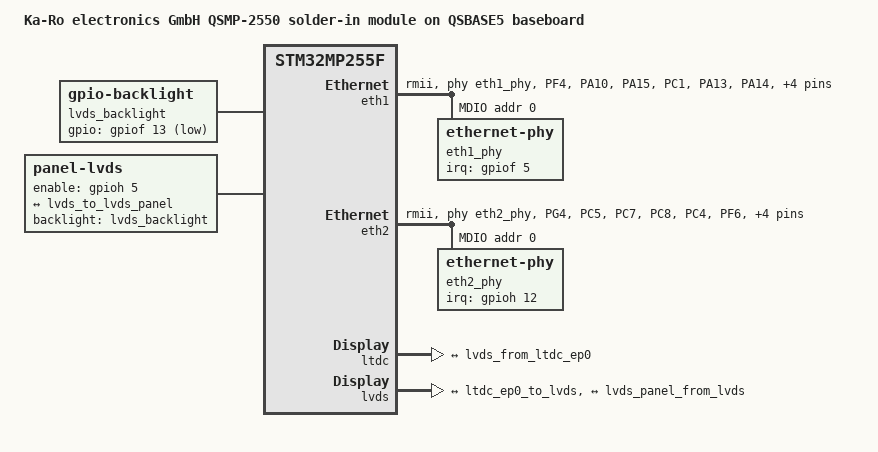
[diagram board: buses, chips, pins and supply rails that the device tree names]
// SPDX-License-Identifier: (GPL-2.0-or-later OR BSD-2-Clause)
/*
 * Copyright (C) 2024 Lothar Waßmann <LW@KARO-electronics.de>
 */

#include "stm32mp255f-qsmp-2550.dts"

/ {
	model = "Ka-Ro electronics GmbH QSMP-2550 solder-in module on QSBASE5 baseboard";

	aliases {
		display = "/lvds-panel";
	};

	lvds_backlight: lvds-backlight {
		compatible = "gpio-backlight";
		default-on;
		gpios = <&gpiof 13 GPIO_ACTIVE_LOW>;
	};

	panel: lvds-panel {
		compatible = "panel-lvds";
		backlight = <&lvds_backlight>;
		enable-gpios = <&gpioh 5 GPIO_ACTIVE_HIGH>; /* Pin 78 */
		data-mapping = "vesa24";
		status = "okay";

		panel-timing {
			clock-frequency = <54000000>;
			hactive = <1024>;
			vactive = <600>;
			hfront-porch = <150>;
			hback-porch = <150>;
			hsync-len = <21>;
			vfront-porch = <24>;
			vback-porch = <24>;
			vsync-len = <21>;
		};

		port {
			lvds_panel_from_lvds: endpoint {
				remote-endpoint = <&lvds_to_lvds_panel>;
			};
		};

		display-timings {
			TM101: TM101 {
				clock-frequency = <68200000>;
				hactive = <1280>;
				vactive = <800>;
				hback-porch = <5>;
				hsync-len = <1>;
				hfront-porch = <64>;
				vback-porch = <2>;
				vsync-len = <1>;
				vfront-porch = <40>;
				hsync-active = <0>;
				vsync-active = <0>;
				de-active = <1>;
				pixelclk-active = <0>;
			};
		};
	};
};

&eth1 {
	pinctrl-names = "default", "sleep";
	pinctrl-0 = <&eth1_mdio_pins &eth1_rmii_pins>;
	pinctrl-1 = <&eth1_mdio_sleep_pins &eth1_rmii_sleep_pins>;
	phy-mode = "rmii";
	phy-reset-gpios = <&gpiob 2 GPIO_ACTIVE_LOW>;
	phy-reset-delay-us = <10000>;
	phy-reset-post-delay-us = <100>;
	phy-handle = <&eth1_phy>;
	status = "okay";

	mdio {
		#address-cells = <1>;
		#size-cells = <0>;
		compatible = "snps,dwmac-mdio";

		eth1_phy: ethernet-phy@0 {
			reg = <0>;
			interrupt-parent = <&gpiof>;
			interrupts = <5 IRQ_TYPE_EDGE_FALLING>;
			smsc,disable-energy-detect;
		};
	};
};

&eth2 {
	pinctrl-names = "default", "sleep";
	pinctrl-0 = <&eth2_mdio_pins &eth2_rmii_pins>;
	pinctrl-1 = <&eth2_mdio_sleep_pins &eth2_rmii_sleep_pins>;
	phy-mode = "rmii";
	phy-reset-gpios = <&gpioh 13 GPIO_ACTIVE_LOW>;
	phy-reset-delay-us = <10000>;
	phy-reset-post-delay-us = <100>;
	phy-handle = <&eth2_phy>;
	status = "okay";

	mdio {
		#address-cells = <1>;
		#size-cells = <0>;

		eth2_phy: ethernet-phy@0 {
			reg = <0>;
			interrupt-parent = <&gpioh>;
			interrupts = <12 IRQ_TYPE_EDGE_FALLING>;
			smsc,disable-energy-detect;
		};
	};
};

&ltdc {
	default-on;
	status = "okay";

	port {
		#address-cells = <1>;
		#size-cells = <0>;

		ltdc_ep0_to_lvds: endpoint@0 {
			reg = <0>;
			remote-endpoint = <&lvds_from_ltdc_ep0>;
		};
	};
};

&lvds {
	vdd-supply =  <&scmi_vddcore>;
	vdda18-supply = <&scmi_v1v8>;
	default-on;
	status = "okay";

	ports {
		#address-cells = <1>;
		#size-cells = <0>;

		port@0 {
			reg = <0>;

			lvds_from_ltdc_ep0: endpoint {
				remote-endpoint = <&ltdc_ep0_to_lvds>;
			};
		};

		port@1 {
			reg = <1>;

			lvds_to_lvds_panel: endpoint {
				remote-endpoint = <&lvds_panel_from_lvds>;
			};
		};
	};
};

&pinctrl {
	eth1_mdio_pins: eth1-mdio-pins {
		pins1 {
			pinmux = <STM32_PINMUX('F', 4, AF8)>; /* ETH1_MDC */
			bias-disable;
			drive-push-pull;
			slew-rate = <2>;
		};

		pins2 {
			pinmux = <STM32_PINMUX('A', 10, AF10)>; /* ETH1_MDIO */
			bias-disable;
			drive-push-pull;
			slew-rate = <0>;
		};
	};

	eth1_mdio_sleep_pins: eth1-mdio-sleep-pins {
		pins1 {
			pinmux = <STM32_PINMUX('F', 4, ANALOG)>, /* ETH1_MDC */
				 <STM32_PINMUX('A', 10, ANALOG)>; /* ETH1_MDIO */
		};
	};

	eth1_rmii_pins: eth1-rmii-pins {
		pins1 {
			pinmux = <
				  STM32_PINMUX('A', 15, AF10) /* ETH1_RMII_TXD0 */
				  STM32_PINMUX('C', 1, AF10) /* ETH1_RMII_TXD1 */
				  STM32_PINMUX('A', 13, AF10) /* ETH1_RMII_TX_EN */
			>;
			bias-disable;
			drive-push-pull;
			slew-rate = <3>;
		};

		pins2 {
			pinmux = <
				  STM32_PINMUX('A', 14, AF10) /* ETH1_REF_CLK */
			>;
			bias-disable;
		};

		/* LAN8710 strap pins */
		pins3 {
			pinmux = <
				  STM32_PINMUX('F', 1, AF10) /* ETH1_RMII_RXD0 | MODE0 */
				  STM32_PINMUX('C', 2, AF10) /* ETH1_RMII_RXD1 | MODE1 */
				  STM32_PINMUX('A', 11, AF10) /* ETH1_RMII_CRS_DV | MODE2 */
			>;
			bias-pull-up;
		};
	};

	eth1_rmii_sleep_pins: eth1-rmii-sleep-pins {
		pins {
			pinmux = <
				  STM32_PINMUX('A', 14, ANALOG) /* ETH1_REF_CLK */
				  STM32_PINMUX('A', 15, ANALOG) /* ETH1_RMII_TXD0 */
				  STM32_PINMUX('C', 1, ANALOG) /* ETH1_RMII_TXD1 */
				  STM32_PINMUX('A', 13, ANALOG) /* ETH1_RMII_TX_EN */
				  STM32_PINMUX('F', 1, ANALOG) /* ETH1_RMII_RXD0 */
				  STM32_PINMUX('C', 2, ANALOG) /* ETH1_RMII_RXD1 */
				  STM32_PINMUX('A', 11, ANALOG) /* ETH1_RMII_CRS_DV */
			>;
		};
	};

	eth2_mdio_pins: eth2-mdio-pins {
		pins1 {
			pinmux = <STM32_PINMUX('G', 4, AF11)>; /* ETH2_MDC */
			bias-disable;
			drive-push-pull;
			slew-rate = <2>;
		};

		pins2 {
			pinmux = <STM32_PINMUX('C', 5, AF10)>; /* ETH2_MDIO */
			bias-disable;
			drive-push-pull;
			slew-rate = <0>;
		};
	};

	eth2_mdio_sleep_pins: eth2-mdio-sleep-pins {
		pins1 {
			pinmux = <STM32_PINMUX('G', 4, ANALOG)>, /* ETH2_MDC */
				 <STM32_PINMUX('C', 5, ANALOG)>; /* ETH2_MDIO */
		};
	};

	eth2_rmii_pins: eth2-rmii-pins {
		pins1 {
			pinmux = <
				  STM32_PINMUX('C', 7, AF10) /* ETH2_RMII_TXD0 */
				  STM32_PINMUX('C', 8, AF10) /* ETH2_RMII_TXD1 */
				  STM32_PINMUX('C', 4, AF10) /* ETH2_RMII_TX_EN */
			>;
			bias-disable;
			drive-push-pull;
			slew-rate = <3>;
		};

		pins2 {
			pinmux = <
				  STM32_PINMUX('F', 6, AF10) /* ETH2_REF_CLK */
			>;
			bias-disable;
		};

		/* LAN8710 strap pins */
		pins3 {
			pinmux = <
				  STM32_PINMUX('G', 0, AF10) /* ETH2_RMII_RXD0 | MODE0 */
				  STM32_PINMUX('C', 12, AF10) /* ETH2_RMII_RXD1 | MODE1 */
				  STM32_PINMUX('C', 3, AF10) /* ETH2_RMII_CRS_DV | MODE2 */
			>;
			bias-pull-up;
		};
	};

	eth2_rmii_sleep_pins: eth2-rmii-sleep-pins {
		pins {
			pinmux = <
				  STM32_PINMUX('F', 6, ANALOG) /* ETH2_REF_CLK */
				  STM32_PINMUX('C', 7, ANALOG) /* ETH2_RMII_TXD0 */
				  STM32_PINMUX('C', 8, ANALOG) /* ETH2_RMII_TXD1 */
				  STM32_PINMUX('C', 4, ANALOG) /* ETH2_RMII_TX_EN */
				  STM32_PINMUX('G', 0, ANALOG) /* ETH2_RMII_RXD0 */
				  STM32_PINMUX('C', 12, ANALOG) /* ETH2_RMII_RXD1 */
				  STM32_PINMUX('C', 3, ANALOG) /* ETH2_RMII_CRS_DV */
			>;
		};
	};
};
